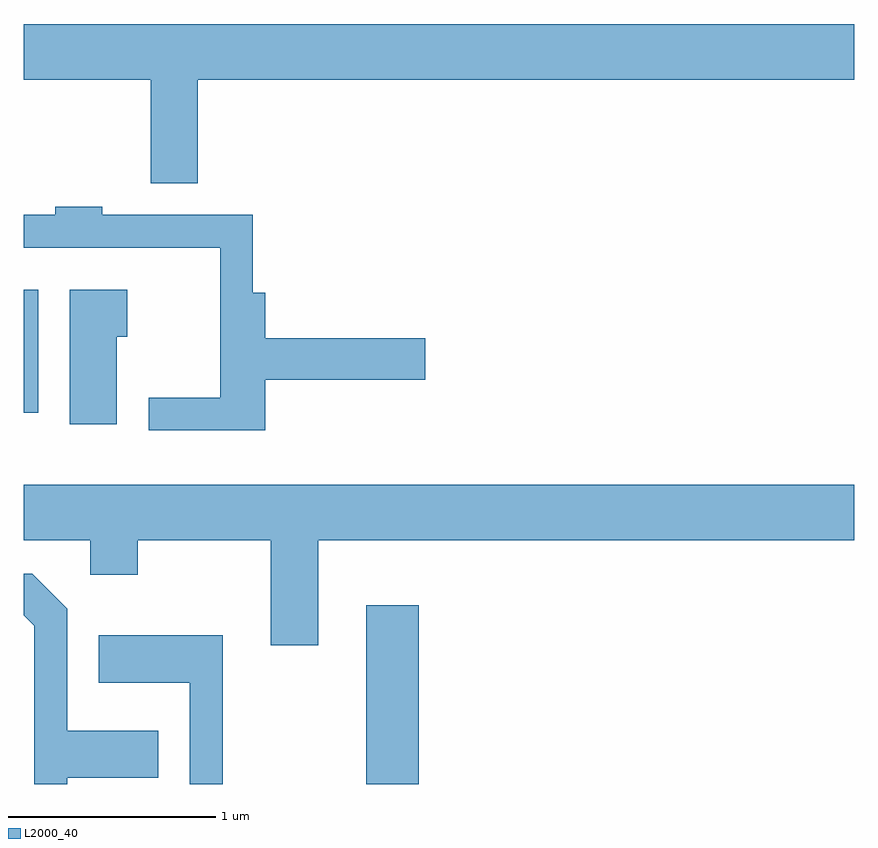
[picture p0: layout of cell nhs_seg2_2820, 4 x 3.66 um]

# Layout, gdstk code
import gdstk
lib = gdstk.Library(unit=1e-6, precision=1e-09)
def R(c, l, rs):  # rectangles x0, y0, x1, y1
    for r in rs: c.add(gdstk.rectangle(r[:2], r[2:], *l))
def P(c, l, *ps):  # polygons
    for p in ps: c.add(gdstk.Polygon(p, *l))
L2000_40 = (2000, 40)

nhs_seg2_2820 = lib.new_cell('nhs_seg2_2820')
R(nhs_seg2_2820, L2000_40, [(269.261,1053.802,269.514,1054.664), (267.611,1055.591,267.679,1056.184)])
P(nhs_seg2_2820, L2000_40, [(268.449,1057.196),(271.611,1057.196),(271.611,1057.464),(267.611,1057.464),(267.611,1057.196),(268.221,1057.196),(268.221,1056.696),(268.449,1056.696)],
  [(268.774,1055.751),(269.544,1055.751),(269.544,1055.949),(268.774,1055.949),(268.774,1056.169),(268.714,1056.169),(268.714,1056.544),(267.989,1056.544),(267.989,1056.584),(267.761,1056.584),(267.761,1056.544),(267.611,1056.544),(267.611,1056.386),(268.556,1056.386),(268.556,1055.664),(268.213,1055.664),(268.213,1055.506),(268.774,1055.506)],
  [(268.059,1055.956),(268.109,1055.956),(268.109,1056.184),(267.831,1056.184),(267.831,1055.536),(268.059,1055.536)],
  [(269.029,1054.976),(271.611,1054.976),(271.611,1055.244),(267.611,1055.244),(267.611,1054.976),(267.931,1054.976),(267.931,1054.811),(268.159,1054.811),(268.159,1054.976),(268.801,1054.976),(268.801,1054.471),(269.029,1054.471)],
  [(267.819,1053.831),(268.259,1053.831),(268.259,1054.059),(267.819,1054.059),(267.819,1054.647),(267.652,1054.814),(267.611,1054.814),(267.611,1054.614),(267.661,1054.564),(267.661,1053.802),(267.819,1053.802)],
  [(268.569,1054.519),(267.971,1054.519),(267.971,1054.291),(268.411,1054.291),(268.411,1053.802),(268.569,1053.802)])

lib.write_gds('nhs_seg2_2820.gds')
